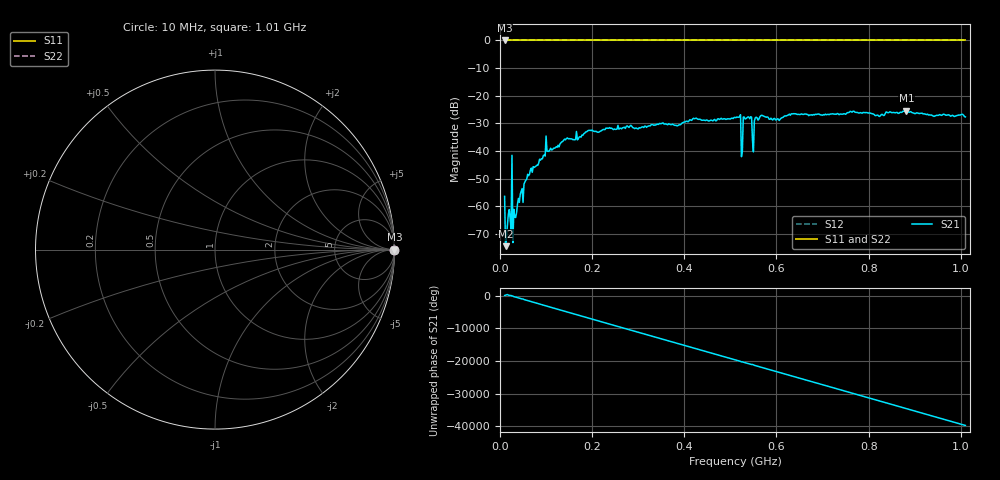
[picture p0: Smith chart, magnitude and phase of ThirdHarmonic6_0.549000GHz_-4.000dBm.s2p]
! 8/15/2025 5:20:47 PM
! C:\ANRITSUVNA\TEMP\TEMP.S2P
! CHANNEL.1
! TR.MEASUREMENT
! RAW.DATA
! RF.CORRECTION.OFF
! AVERAGING.OFF
! IF.BANDWIDTH: 5KHZ
! SWEEPTYPE:  FREQ.SWEEP(Linear)
! Reference Plane Port Info
! PORT:  PORT1  PORT2
! DISTANCE:  0  m  0  m
! TIME:  0  s  0  s
! PHASE.OFFSET:  0  deg.  0  deg.
! LOSS:  0  dB  0  dB
! REF.LOSS:  0  dB  0  dB
! REF.FREQ:  0  Hz  0  Hz
! Power Info
! POWER:  -20  dBm  -20  dBm
! EFF.POWER:  -20  dBm  -20  dBm
! SOURCE.ATTEN:  0  dB  0  dB
! TEST.ATTEN:  0  dB  0  dB
# GHZ S RI R 50.0
! FREQ.GHZ  S11RE  S11IM  S21RE  S21IM  S12RE  S12IM  S22RE  S22IM
!; PortSelection: Port_12
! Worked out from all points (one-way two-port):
!   501 points, 10 MHz to 1.01 GHz, reference 50 ohm
!   highest |S21| = -25.43 dB at 882 MHz (marker M1); lowest = -74.4 dB at 12 MHz (marker M2)
!   lowest |S11| = 0.0 dB at 10 MHz (marker M3)
!   |S11| at or under -10 dB: nowhere
!   |S22| runs from 0.0 to 0.0 dB; largest |S21 - S12| = 1.1
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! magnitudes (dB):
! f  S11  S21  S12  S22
! 10 MHz  0.0  -56.4  0.0  0.0
! 12 MHz  0.0  -74.4  0.0  0.0
! 16 MHz  0.0  -67.1  0.0  0.0
! 22 MHz  0.0  -64.3  0.0  0.0
! 30 MHz  0.0  -61.1  0.0  0.0
! 32 MHz  0.0  -63.8  0.0  0.0
! 56 MHz  0.0  -50.5  0.0  0.0
! 98 MHz  0.0  -41.8  0.0  0.0
! 178 MHz  0.0  -34.2  0.0  0.0
! 344 MHz  0.0  -30.3  0.0  0.0
! 510 MHz  0.0  -27.8  0.0  0.0
! 518 MHz  0.0  -27.7  0.0  0.0
! 522 MHz  0.0  -26.8  0.0  0.0
! 528 MHz  0.0  -27.7  0.0  0.0
! 532 MHz  0.0  -28.4  0.0  0.0
! 552 MHz  0.0  -29.1  0.0  0.0
! 556 MHz  0.0  -27.8  0.0  0.0
! 568 MHz  0.0  -27.0  0.0  0.0
! 678 MHz  0.0  -27.0  0.0  0.0
! 844 MHz  0.0  -26.1  0.0  0.0
! 882 MHz  0.0  -25.4  0.0  0.0
! 1.01 GHz  0.0  -27.6  0.0  0.0
